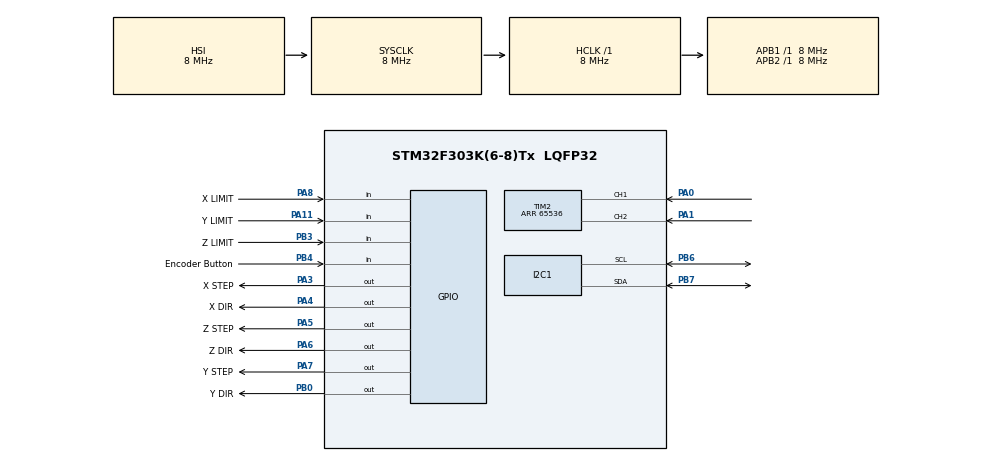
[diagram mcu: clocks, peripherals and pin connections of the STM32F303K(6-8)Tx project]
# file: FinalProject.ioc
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I2C1.Timing=0x00201D2B
Mcu.Family=STM32F3
Mcu.Name=STM32F303K(6-8)Tx
Mcu.Package=LQFP32
NVIC.PriorityGroup=NVIC_PRIORITYGROUP_4
PA0.GPIO_PuPd=GPIO_PULLUP
PA0.Signal=S_TIM2_CH1_ETR
PA1.GPIO_PuPd=GPIO_PULLUP
PA1.Signal=S_TIM2_CH2
PA11.GPIO_Label=Y LIMIT
PA11.Signal=GPIO_Input
PA13.GPIO_Label=SWDIO
PA13.Signal=SYS_JTMS-SWDIO
PA14.GPIO_Label=SWCLK
PA14.Signal=SYS_JTCK-SWCLK
PA3.GPIO_Label=X STEP
PA3.Signal=GPIO_Output
PA4.GPIO_Label=X DIR
PA4.Signal=GPIO_Output
PA5.GPIO_Label=Z STEP
PA5.Signal=GPIO_Output
PA6.GPIO_Label=Z DIR
PA6.Signal=GPIO_Output
PA7.GPIO_Label=Y STEP
PA7.Signal=GPIO_Output
PA8.GPIO_Label=X LIMIT
PA8.Signal=GPIO_Input
PB0.GPIO_Label=Y DIR
PB0.Signal=GPIO_Output
PB3.GPIO_Label=Z LIMIT
PB3.Signal=GPIO_Input
PB4.GPIO_Label=Encoder Button
PB4.Signal=GPIO_Input
PB6.GPIO_Pu=GPIO_PULLUP
PB6.Mode=I2C
PB6.Signal=I2C1_SCL
PB7.GPIO_Pu=GPIO_PULLUP
PB7.Mode=I2C
PB7.Signal=I2C1_SDA
PF0\ /\ OSC_IN.GPIO_Label=MCO
PF0\ /\ OSC_IN.Signal=RCC_OSC_IN
ProjectManager.HeapSize=0x200
ProjectManager.StackSize=0x400
ProjectManager.TargetToolchain=STM32CubeIDE
RCC.AHBFreq_Value=8000000
RCC.APB1Freq_Value=8000000
RCC.APB2Freq_Value=8000000
RCC.CortexFreq_Value=8000000
RCC.HSE_VALUE=8000000
RCC.HSI_VALUE=8000000
RCC.SYSCLKFreq_VALUE=8000000
SH.S_TIM2_CH1_ETR.0=TIM2_CH1,Encoder_Interface
SH.S_TIM2_CH2.0=TIM2_CH2,Encoder_Interface
TIM2.EncoderMode=TIM_ENCODERMODE_TI12
TIM2.Period=65536
board=NUCLEO-F303K8

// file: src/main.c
/* USER CODE BEGIN Header */
/**
  ******************************************************************************
  * @file           : main.c
  * @brief          : STM32-based 2D plotter final project using stepper
  *                   drivers, an Ender 3 frame, limit switches, an LCD menu,
  *                   a rotary encoder, and hardcoded drawing functions.
  ******************************************************************************
  */
/* USER CODE END Header */
#include "main.h"

/* USER CODE BEGIN Includes */
#include <stdint.h>
#include <math.h>
#include "i2c_lcd.h"
#include "stm32f3xx_hal.h"
#include <stdio.h>
/* USER CODE END Includes */

/* USER CODE BEGIN PD */

/* Pin setup and motion calibration */
#define X_STEPS_PER_MM   7.3
#define Z_STEPS_PER_MM   7.4
#define Y_STEPS_PER_MM  10.0

/* Stepper pin aliases */
#define X_STEP_PORT     X_STEP_GPIO_Port
#define X_STEP_PIN      X_STEP_Pin
#define X_DIR_PORT      X_DIR_GPIO_Port
#define X_DIR_PIN       X_DIR_Pin

#define Z_STEP_PORT     Z_STEP_GPIO_Port
#define Z_STEP_PIN      Z_STEP_Pin
#define Z_DIR_PORT      Z_DIR_GPIO_Port
#define Z_DIR_PIN       Z_DIR_Pin

#define Y_STEP_PORT     Y_STEP_GPIO_Port
#define Y_STEP_PIN      Y_STEP_Pin
#define Y_DIR_PORT      Y_DIR_GPIO_Port
#define Y_DIR_PIN       Y_DIR_Pin

/* Limit switch pin aliases */
#define X_LIMIT_PORT    X_LIMIT_GPIO_Port
#define X_LIMIT_PIN     X_LIMIT_Pin

#define Z_LIMIT_PORT    Z_LIMIT_GPIO_Port
#define Z_LIMIT_PIN     Z_LIMIT_Pin

#define Y_LIMIT_PORT    Y_LIMIT_GPIO_Port
#define Y_LIMIT_PIN     Y_LIMIT_Pin

/* Limit switches use pull-ups, so a pressed switch reads LOW. */
#define LIMIT_TRIGGERED  GPIO_PIN_RESET

/* Tuned center position in mm after homing. */
#define X_CENTER_MM   96.0
#define Z_CENTER_MM   89.0

/* Line interpolation resolution for draw_vector(). */
#define GLOBAL_STEP_SIZE  100.0

/* USER CODE END PD */

I2C_HandleTypeDef hi2c1;

TIM_HandleTypeDef htim2;

/* USER CODE BEGIN PV */

extern TIM_HandleTypeDef htim2;

uint32_t STEP_DELAY_MS  = 0;   /* 0 = full speed; set higher to slow for debug */

double residualX        = 0.0;
double residualZ        = 0.0;
double residualY        = 0.0;

double global_step_size = GLOBAL_STEP_SIZE;
double font_size        = 1.0;
double char_separation  = 3.0;

/* USER CODE END PV */

void SystemClock_Config(void);
static void MX_GPIO_Init(void);
static void MX_TIM2_Init(void);
static void MX_I2C1_Init(void);
/* USER CODE BEGIN PFP */

void   pulse_step(GPIO_TypeDef *GPIOx, uint16_t stepPin);
void   move_motor_with_residue(GPIO_TypeDef *dirPort,  uint16_t dirPin,
                               GPIO_TypeDef *stepPort, uint16_t stepPin,
                               double mm, double steps_per_mm, double *residue);
void   move_x_mm(double mm);
void   move_z_mm(double mm);
void   move_y_mm(double mm);
void   draw_vector(double distance, double angle);
void   move_to_zero(void);
void   move_to_center(double x_center_mm, double z_center_mm);
void   move_to_zero_then_center(double x_center_mm, double z_center_mm);
void   draw_char(int char_value, double font_scale);

void pen_down(void);
void pen_up(void);
void draw_line(double length);
void square(double length);
void circle(double radius);
void triangle(double side);

void init_lcds(void);
void print_menu(uint32_t counter, char **menu);
void parse_input(uint32_t current_counter_value, uint32_t current_menu);

/* USER CODE END PFP */

/* USER CODE BEGIN 0 */
// LCD menu helpers

I2C_LCD_HandleTypeDef lcd1;
I2C_LCD_HandleTypeDef lcd2;

uint32_t main_menu = 0;
uint32_t print_shape_menu = 1;
uint32_t print_text_menu = 2;

char buf[16];
int menu_flag = 0;

char *menu[3] = {"Reset Printer", "Print Shape", "Print Char", };
char *shape_menu[4] = {"Square", "Circle", "Triangle", "Back"};
char *text_menu[4] = {"Text 1", "Text 2", "Text 3", "Back"};

void init_lcds(void) {
    lcd1.hi2c = &hi2c1;
    lcd1.address = 0x4E;
    lcd_init(&lcd1);
}

void print_menu(uint32_t counter, char **menu)
{
    sprintf(buf, "%s", menu[counter]);

    lcd_gotoxy(&lcd1, 0, 0);
    lcd_puts(&lcd1, buf);
}

void parse_input(uint32_t current_counter_value, uint32_t current_menu) {
    if (current_menu == main_menu)
    {
        switch (current_counter_value) {
            case 0:
                lcd_clear(&lcd1);
                lcd_gotoxy(&lcd1, 0, 0);
                lcd_puts(&lcd1, "Resetting...");
                move_to_zero_then_center(X_CENTER_MM, Z_CENTER_MM);
                break;

            case 1:
                lcd_clear(&lcd1);
                lcd_gotoxy(&lcd1, 0, 0);
                menu_flag = 1;
                break;

            case 2:
                lcd_clear(&lcd1);
                lcd_gotoxy(&lcd1, 0, 0);
                menu_flag = 2;
                break;
        }
        return;
    }
    else if (current_menu == print_shape_menu)
    {
        switch (current_counter_value)
        {
            case 0:
                lcd_clear(&lcd1);
                lcd_gotoxy(&lcd1, 0, 0);
                lcd_puts(&lcd1, "Printing...");
                square(10.0);
                menu_flag = 0;
                current_menu = 0;
                break;

            case 1:
                lcd_clear(&lcd1);
                lcd_gotoxy(&lcd1, 0, 0);
                lcd_puts(&lcd1, "Printing...");
                circle(10.0);
                menu_flag = 0;
                current_menu = 0;
                break;

            case 2:
                lcd_clear(&lcd1);
                lcd_gotoxy(&lcd1, 0, 0);
                lcd_puts(&lcd1, "Printing...");
                triangle(10.0);
                menu_flag = 0;
                current_menu = 0;
                break;
            case 3:
                lcd_clear(&lcd1);
                lcd_gotoxy(&lcd1, 0, 0);
                menu_flag = 0;
                break;
        }
        return;
    }
    else if (current_menu == print_text_menu)
    {
        switch (current_counter_value)
        {
            case 0:
                lcd_clear(&lcd1);
                lcd_gotoxy(&lcd1, 0, 0);
                lcd_puts(&lcd1, "Printing...");
                draw_char(0b1111111, 5);
                draw_char(0b1110011, 5);
                menu_flag = 0;
                current_menu = 0;
                break;

            case 1:
                lcd_clear(&lcd1);
                lcd_gotoxy(&lcd1, 0, 0);
                lcd_puts(&lcd1, "Printing...");
                HAL_Delay(2000);
                menu_flag = 0;
                current_menu = 0;
                break;

            case 2:
                lcd_clear(&lcd1);
                lcd_gotoxy(&lcd1, 0, 0);
                lcd_puts(&lcd1, "Printing...");
                HAL_Delay(2000);
                menu_flag = 0;
                current_menu = 0;
                break;
            case 3:
            	lcd_clear(&lcd1);
            	lcd_gotoxy(&lcd1, 0, 0);
            	menu_flag = 0;
            	break;
        }
        return;
    }
}

// Shape drawing

void pen_down(void) {
    move_y_mm(-12);
    HAL_Delay(200);
}

void pen_up(void) {
    move_y_mm(12);
    HAL_Delay(200);
}

void draw_line(double length) {
    pen_down();

    draw_vector(length, 0);

    pen_up();
}

void square(double side) {
    pen_down();

    draw_vector(side, 0);         // Right
    HAL_Delay(10);
    draw_vector(side, 90);         // Up
    HAL_Delay(10);
    draw_vector(side, 180);        // Left
    HAL_Delay(10);
    draw_vector(side, 270);        // Down

    pen_up();
}

void circle(double radius)
{
    double prev_x;
    double prev_z;

    move_x_mm(radius);
    pen_down();

    prev_x = radius;
    prev_z = 0.0;

    for (int angle = 10; angle <= 360; angle += 10)
    {
        double rad = angle * (3.14159265358979323846 / 180.0);

        double x = radius * cos(rad);
        double z = radius * sin(rad);

        double dx = x - prev_x;
        double dz = z - prev_z;

        double dist = sqrt((dx * dx) + (dz * dz));
        double seg_angle = atan2(dz, dx) * (180.0 / 3.14159265358979323846);

        draw_vector(dist, seg_angle);

        prev_x = x;
        prev_z = z;
    }

    pen_up();
    move_x_mm(-radius);
}

void triangle(double side)
{
    move_x_mm(-(side / 2.0));
    pen_down();

    draw_vector(side, 0);
    draw_vector(side, 120);
    draw_vector(side, 240);

    pen_up();

    move_x_mm(side / 2.0);
}
/* Motor movement */
void pulse_step(GPIO_TypeDef *GPIOx, uint16_t stepPin)
{
    HAL_GPIO_WritePin(GPIOx, stepPin, GPIO_PIN_SET);
    HAL_Delay(STEP_DELAY_MS);
    HAL_GPIO_WritePin(GPIOx, stepPin, GPIO_PIN_RESET);
    HAL_Delay(STEP_DELAY_MS);
}

/* Shared stepper move helper with residue tracking. */
void move_motor_with_residue(GPIO_TypeDef *dirPort,  uint16_t dirPin,
                             GPIO_TypeDef *stepPort, uint16_t stepPin,
                             double mm, double steps_per_mm, double *residue)
{
    double total   = (mm * steps_per_mm) + *residue;
    int    steps   = (int)fabs(total);

    *residue = total - (total > 0 ? steps : -steps);

    HAL_GPIO_WritePin(dirPort, dirPin,
                      (mm < 0) ? GPIO_PIN_RESET : GPIO_PIN_SET);

    for (int i = 0; i < steps; i++)
        pulse_step(stepPort, stepPin);
}

/* Per-axis move helpers */
void move_x_mm(double mm)
{
    move_motor_with_residue(X_DIR_PORT, X_DIR_PIN,
                            X_STEP_PORT, X_STEP_PIN,
                            mm, X_STEPS_PER_MM, &residualX);
}

void move_z_mm(double mm)
{
    move_motor_with_residue(Z_DIR_PORT, Z_DIR_PIN,
                            Z_STEP_PORT, Z_STEP_PIN,
                            mm, Z_STEPS_PER_MM, &residualZ);
}

void move_y_mm(double mm)
{
    move_motor_with_residue(Y_DIR_PORT, Y_DIR_PIN,
                            Y_STEP_PORT, Y_STEP_PIN,
                            mm, Y_STEPS_PER_MM, &residualY);
}

/* Break a line into smaller X/Z moves so diagonal motion stays smooth. */
void draw_vector(double distance, double angle)
{
    double rad      = (angle * 3.14159265358979323846) / 180.0;
    double totalX   = distance * cos(rad);
    double totalZ   = distance * sin(rad);
    double currentX = 0.0;
    double currentZ = 0.0;

    for (int i = 1; i <= (int)global_step_size; i++)
    {
        double nextX = (totalX * i) / global_step_size;
        double nextZ = (totalZ * i) / global_step_size;

        move_x_mm(nextX - currentX);
        move_z_mm(nextZ - currentZ);

        currentX = nextX;
        currentZ = nextZ;

        HAL_Delay(1);
    }
}

/* Homing and centering */
void move_to_zero(void)
{
    int state = 0;

    while (state != 3)
    {
        switch (state)
        {
            case 0:
                while (HAL_GPIO_ReadPin(X_LIMIT_PORT, X_LIMIT_PIN) != LIMIT_TRIGGERED)
                    move_x_mm(1);
                HAL_Delay(200);
                state = 1;
                break;

            case 1:
                while (HAL_GPIO_ReadPin(Z_LIMIT_PORT, Z_LIMIT_PIN) != LIMIT_TRIGGERED)
                    move_z_mm(1);
                HAL_Delay(200);
                state = 2;
                break;

            case 2:
                while (HAL_GPIO_ReadPin(Y_LIMIT_PORT, Y_LIMIT_PIN) != LIMIT_TRIGGERED)
                    move_y_mm(-1);
                HAL_Delay(200);
                move_y_mm(20);
                state = 3;
                break;

            default:
                state = 3;
                break;
        }
    }
}

/* Move from the switch position to the tuned drawing center. */
void move_to_center(double x_center_mm, double z_center_mm)
{
    move_x_mm(-x_center_mm);
    HAL_Delay(200);

    move_z_mm(-z_center_mm);
    HAL_Delay(200);

}

/* Full reset sequence used by the menu reset option. */
void move_to_zero_then_center(double x_center_mm, double z_center_mm)
{
    move_to_zero();
    HAL_Delay(500);

    move_to_center(x_center_mm, z_center_mm);
    HAL_Delay(500);
}

/* Hardcoded 7-segment style character drawing. */
void draw_char(int char_value, double font_scale)
{
    for (int i = 0; i < 7; i++)
    {
        int seg = (char_value >> i) & 0x01;

        if (i == 0)
        {
            if (seg) { move_y_mm(-12); draw_vector(font_size * font_scale,   0); move_y_mm(12); }
            else     {                 draw_vector(font_size * font_scale,   0);                }
        }
        if (i == 1)
        {
            if (seg) { move_y_mm(-12); draw_vector(font_size * font_scale,  90); move_y_mm(12); }
            else     {                 draw_vector(font_size * font_scale,  90);                }
        }
        if (i == 2)
        {
            if (seg) { move_y_mm(-12); draw_vector(font_size * font_scale,  90); move_y_mm(12); }
            else     {                 draw_vector(font_size * font_scale,  90);                }
        }
        if (i == 3)
        {
            if (seg) { move_y_mm(-12); draw_vector(font_size * font_scale, 180); move_y_mm(12); }
            else     {                 draw_vector(font_size * font_scale, 180);                }
        }
        if (i == 4)
        {
            if (seg) { move_y_mm(-12); draw_vector(font_size * font_scale, 270); move_y_mm(12); }
            else     {                 draw_vector(font_size * font_scale, 270);                }
        }
        if (i == 5)
        {
            if (seg) { move_y_mm(-12); draw_vector(font_size * font_scale, 270); move_y_mm(12); }
            else     {                 draw_vector(font_size * font_scale, 270);                }
        }
        if (i == 6)
        {
            if (seg)
            {
                draw_vector(-(font_size * font_scale), 270);
                move_y_mm(-12);
                draw_vector( (font_size * font_scale),   0);
                move_y_mm(12);
                draw_vector(-(font_size * font_scale),   0);
                draw_vector( (font_size * font_scale), 270);
                draw_vector( (font_size * font_scale) + char_separation, 0);
            }
            else
            {
                draw_vector(15, 0);
            }
        }
    }
}

/* USER CODE END 0 */

int main(void)
{

  /* MCU Configuration--------------------------------------------------------*/

  /* Reset of all peripherals, Initializes the Flash interface and the Systick. */
  HAL_Init();

  /* Configure the system clock */
  SystemClock_Config();

  /* Initialize all configured peripherals */
  MX_TIM2_Init();
  MX_I2C1_Init();
  MX_GPIO_Init();
  /* USER CODE BEGIN 2 */
  HAL_TIM_Encoder_Start(&htim2, TIM_CHANNEL_ALL);
  /* Encoder and LCD startup */
  //move_to_zero_then_center(X_CENTER_MM, Z_CENTER_MM);

  init_lcds();
  HAL_Delay(200);

  lcd_clear(&lcd1);
  lcd_gotoxy(&lcd1, 0, 0);

  uint32_t current_count = 0;
  menu_flag = 0;

  /* USER CODE END 2 */

  /* Infinite loop */
  /* USER CODE BEGIN WHILE */
  while (1)
  {
	  uint32_t count = __HAL_TIM_GET_COUNTER(&htim2);

	  uint32_t counter = 0;

	  if(menu_flag == 0) {
		  counter = ((count / 4)) % 3;
	  }
	  else {
		  counter = ((count / 4)) % 4;
	  }

	  if (current_count != counter) {
	      lcd_clear(&lcd1);
	  }

	  current_count = counter;

	  switch (menu_flag) {
	      case 0:
	          print_menu(counter, menu);
	          break;

	      case 1:
	          print_menu(counter, shape_menu);
	          break;

	      case 2:
	          print_menu(counter, text_menu);
	          break;

	      default:
	          print_menu(counter, menu);
	          break;
	  }

	  if (HAL_GPIO_ReadPin(GPIOB, GPIO_PIN_4) == GPIO_PIN_RESET) {
	      parse_input(counter, menu_flag);
	      __HAL_TIM_SET_COUNTER(&htim2, 0);
	      count = 0;
	      counter = 0;
	      HAL_Delay(10);

	      while (HAL_GPIO_ReadPin(GPIOB, GPIO_PIN_4) == GPIO_PIN_RESET) {
	          HAL_Delay(10);
	      }
	  }

	  HAL_Delay(10);
    /* Quick test blocks kept here for bench testing.
    move_x_mm(10);   HAL_Delay(1000);
    move_x_mm(-10);  HAL_Delay(1000);
    move_z_mm(10);   HAL_Delay(1000);
    move_z_mm(-10);  HAL_Delay(1000);
    move_y_mm(10);   HAL_Delay(1000);
    move_y_mm(-10);  HAL_Delay(2000);
	*/
    //move_y_mm(10);
    //draw_char(0b0111111, 5);
    //draw_char(0b0000110, 5);
    //draw_char(0b1011011, 5);
    //draw_char(0b1001111, 5);
    //draw_char(0b1100110, 5);
    //draw_char(0b1011001, 5);
    //draw_char(0b1111101, 5);
    //draw_char(0b0000111, 5);
    /* USER CODE END WHILE */

  }
}

void SystemClock_Config(void)
{
  RCC_OscInitTypeDef RCC_OscInitStruct = {0};
  RCC_ClkInitTypeDef RCC_ClkInitStruct = {0};
  RCC_PeriphCLKInitTypeDef PeriphClkInit = {0};

  /** Initializes the RCC Oscillators according to the specified parameters
  * in the RCC_OscInitTypeDef structure.
  */
  RCC_OscInitStruct.OscillatorType = RCC_OSCILLATORTYPE_HSI;
  RCC_OscInitStruct.HSIState = RCC_HSI_ON;
  RCC_OscInitStruct.HSICalibrationValue = RCC_HSICALIBRATION_DEFAULT;
  RCC_OscInitStruct.PLL.PLLState = RCC_PLL_NONE;
  if (HAL_RCC_OscConfig(&RCC_OscInitStruct) != HAL_OK)
  {
    Error_Handler();
  }

  /** Initializes the CPU, AHB and APB buses clocks
  */
  RCC_ClkInitStruct.ClockType = RCC_CLOCKTYPE_HCLK|RCC_CLOCKTYPE_SYSCLK
                              |RCC_CLOCKTYPE_PCLK1|RCC_CLOCKTYPE_PCLK2;
  RCC_ClkInitStruct.SYSCLKSource = RCC_SYSCLKSOURCE_HSI;
  RCC_ClkInitStruct.AHBCLKDivider = RCC_SYSCLK_DIV1;
  RCC_ClkInitStruct.APB1CLKDivider = RCC_HCLK_DIV1;
  RCC_ClkInitStruct.APB2CLKDivider = RCC_HCLK_DIV1;

  if (HAL_RCC_ClockConfig(&RCC_ClkInitStruct, FLASH_LATENCY_0) != HAL_OK)
  {
    Error_Handler();
  }
  PeriphClkInit.PeriphClockSelection = RCC_PERIPHCLK_I2C1;
  PeriphClkInit.I2c1ClockSelection = RCC_I2C1CLKSOURCE_HSI;
  if (HAL_RCCEx_PeriphCLKConfig(&PeriphClkInit) != HAL_OK)
  {
    Error_Handler();
  }
}

static void MX_I2C1_Init(void)
{

  hi2c1.Instance = I2C1;
  hi2c1.Init.Timing = 0x00201D2B;
  hi2c1.Init.OwnAddress1 = 0;
  hi2c1.Init.AddressingMode = I2C_ADDRESSINGMODE_7BIT;
  hi2c1.Init.DualAddressMode = I2C_DUALADDRESS_DISABLE;
  hi2c1.Init.OwnAddress2 = 0;
  hi2c1.Init.OwnAddress2Masks = I2C_OA2_NOMASK;
  hi2c1.Init.GeneralCallMode = I2C_GENERALCALL_DISABLE;
  hi2c1.Init.NoStretchMode = I2C_NOSTRETCH_DISABLE;
  if (HAL_I2C_Init(&hi2c1) != HAL_OK)
  {
    Error_Handler();
  }

  /** Configure Analogue filter
  */
  if (HAL_I2CEx_ConfigAnalogFilter(&hi2c1, I2C_ANALOGFILTER_ENABLE) != HAL_OK)
  {
    Error_Handler();
  }

  /** Configure Digital filter
  */
  if (HAL_I2CEx_ConfigDigitalFilter(&hi2c1, 0) != HAL_OK)
  {
    Error_Handler();
  }

}

static void MX_TIM2_Init(void)
{

  TIM_Encoder_InitTypeDef sConfig = {0};
  TIM_MasterConfigTypeDef sMasterConfig = {0};

  htim2.Instance = TIM2;
  htim2.Init.Prescaler = 0;
  htim2.Init.CounterMode = TIM_COUNTERMODE_UP;
  htim2.Init.Period = 65536;
  htim2.Init.ClockDivision = TIM_CLOCKDIVISION_DIV1;
  htim2.Init.AutoReloadPreload = TIM_AUTORELOAD_PRELOAD_DISABLE;
  sConfig.EncoderMode = TIM_ENCODERMODE_TI12;
  sConfig.IC1Polarity = TIM_ICPOLARITY_RISING;
  sConfig.IC1Selection = TIM_ICSELECTION_DIRECTTI;
  sConfig.IC1Prescaler = TIM_ICPSC_DIV1;
  sConfig.IC1Filter = 0;
  sConfig.IC2Polarity = TIM_ICPOLARITY_RISING;
  sConfig.IC2Selection = TIM_ICSELECTION_DIRECTTI;
  sConfig.IC2Prescaler = TIM_ICPSC_DIV1;
  sConfig.IC2Filter = 0;
  if (HAL_TIM_Encoder_Init(&htim2, &sConfig) != HAL_OK)
  {
    Error_Handler();
  }
  sMasterConfig.MasterOutputTrigger = TIM_TRGO_RESET;
  sMasterConfig.MasterSlaveMode = TIM_MASTERSLAVEMODE_DISABLE;
  if (HAL_TIMEx_MasterConfigSynchronization(&htim2, &sMasterConfig) != HAL_OK)
  {
    Error_Handler();
  }

}

static void MX_GPIO_Init(void)
{
  GPIO_InitTypeDef GPIO_InitStruct = {0};
  /* USER CODE BEGIN MX_GPIO_Init_1 */
  /* GPIO pin setup for steppers, limits, and the encoder button */
  /* USER CODE END MX_GPIO_Init_1 */

  /* GPIO Ports Clock Enable */
  __HAL_RCC_GPIOF_CLK_ENABLE();
  __HAL_RCC_GPIOA_CLK_ENABLE();
  __HAL_RCC_GPIOB_CLK_ENABLE();

  /* Default output levels */
  HAL_GPIO_WritePin(GPIOA, X_STEP_Pin|X_DIR_Pin|Z_STEP_Pin|Z_DIR_Pin
                          |Y_STEP_Pin, GPIO_PIN_RESET);

  HAL_GPIO_WritePin(Y_DIR_GPIO_Port, Y_DIR_Pin, GPIO_PIN_RESET);

  GPIO_InitStruct.Pin = X_STEP_Pin;
  GPIO_InitStruct.Mode = GPIO_MODE_OUTPUT_PP;
  GPIO_InitStruct.Pull = GPIO_NOPULL;
  GPIO_InitStruct.Speed = GPIO_SPEED_FREQ_LOW;
  HAL_GPIO_Init(GPIOA, &GPIO_InitStruct);

  GPIO_InitStruct.Pin = X_DIR_Pin;
  GPIO_InitStruct.Mode = GPIO_MODE_OUTPUT_PP;
  GPIO_InitStruct.Pull = GPIO_NOPULL;
  GPIO_InitStruct.Speed = GPIO_SPEED_FREQ_LOW;
  HAL_GPIO_Init(GPIOA, &GPIO_InitStruct);

  GPIO_InitStruct.Pin = Z_STEP_Pin;
  GPIO_InitStruct.Mode = GPIO_MODE_OUTPUT_PP;
  GPIO_InitStruct.Pull = GPIO_NOPULL;
  GPIO_InitStruct.Speed = GPIO_SPEED_FREQ_LOW;
  HAL_GPIO_Init(GPIOB, &GPIO_InitStruct);

  GPIO_InitStruct.Pin = Z_DIR_Pin;
  GPIO_InitStruct.Mode = GPIO_MODE_OUTPUT_PP;
  GPIO_InitStruct.Pull = GPIO_NOPULL;
  GPIO_InitStruct.Speed = GPIO_SPEED_FREQ_LOW;
  HAL_GPIO_Init(GPIOF, &GPIO_InitStruct);

  GPIO_InitStruct.Pin = Y_STEP_Pin;
  GPIO_InitStruct.Mode = GPIO_MODE_OUTPUT_PP;
  GPIO_InitStruct.Pull = GPIO_NOPULL;
  GPIO_InitStruct.Speed = GPIO_SPEED_FREQ_LOW;
  HAL_GPIO_Init(GPIOA, &GPIO_InitStruct);

  /*Configure GPIO pin : Y_DIR_Pin */
  GPIO_InitStruct.Pin = Y_DIR_Pin;
  GPIO_InitStruct.Mode = GPIO_MODE_OUTPUT_PP;
  GPIO_InitStruct.Pull = GPIO_NOPULL;
  GPIO_InitStruct.Speed = GPIO_SPEED_FREQ_LOW;
  HAL_GPIO_Init(Y_DIR_GPIO_Port, &GPIO_InitStruct);

  /*Configure GPIO pins : X_LIMIT_Pin Y_LIMIT_Pin */
  GPIO_InitStruct.Pin = X_LIMIT_Pin|Y_LIMIT_Pin;
  GPIO_InitStruct.Mode = GPIO_MODE_INPUT;
  GPIO_InitStruct.Pull = GPIO_PULLUP;
  HAL_GPIO_Init(GPIOA, &GPIO_InitStruct);

  /*Configure GPIO pins : Z_LIMIT_Pin Encoder_Button_Pin */
  GPIO_InitStruct.Pin = Z_LIMIT_Pin|Encoder_Button_Pin;
  GPIO_InitStruct.Mode = GPIO_MODE_INPUT;
  GPIO_InitStruct.Pull = GPIO_PULLUP;
  HAL_GPIO_Init(GPIOB, &GPIO_InitStruct);

}

void Error_Handler(void)
{
  __disable_irq();
  while (1) {}
}
